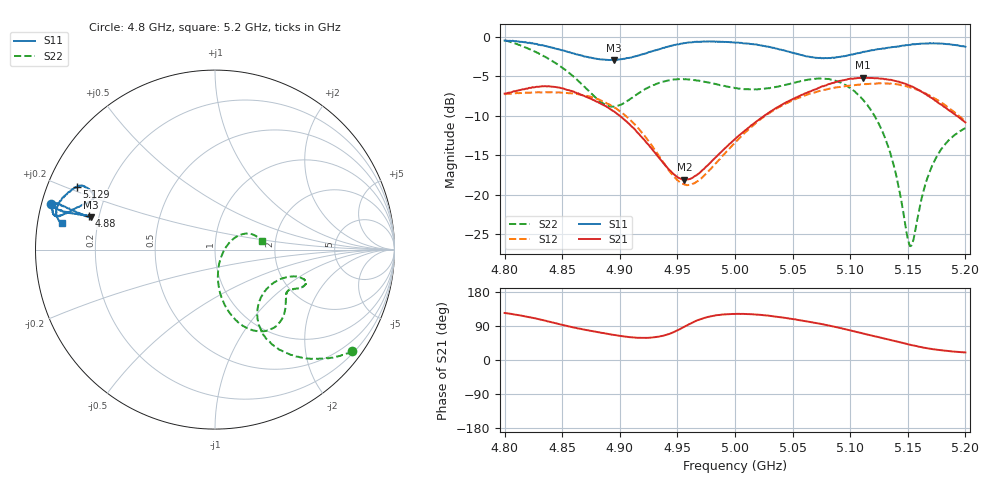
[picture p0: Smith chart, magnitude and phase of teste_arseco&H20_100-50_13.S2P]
! Network Analyzer HP8722D
! Hewlett-Packard
! Data name: Linha & Wilkinson
! Saver's name: Rodrigo Anjos
! Comments: Teste da utilização de aquisição
! continua pelo VNA HP8722D
! Time and date: 6/5/2025 12:40
!  Frequency  S11  S21  S12  S22
# HZ  S  MA R 50
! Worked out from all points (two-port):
!   401 points, 4.8 GHz to 5.2 GHz, reference 50 ohm
!   highest |S21| = -5.17 dB at 5.111 GHz (marker M1); lowest = -18.1 dB at 4.956 GHz (marker M2)
!   |S21| within 3 dB of the highest: start of sweep to 4.88 GHz; 5.046 GHz to 5.175 GHz (129 MHz wide, 2.52 % of centre)
!   lowest |S11| = -2.9 dB at 4.895 GHz (marker M3), VSWR 6.00, Z = 8.47 + j6.26 ohm
!   |S11| at or under -10 dB: nowhere
!   |S22| runs from -26.5 to -0.4 dB; largest |S21 - S12| = 0.71
!   S11 on the Smith chart (normalised r, x): 4.8 GHz: 0.03, +0.14; 4.88 GHz: 0.16, +0.13; 5.129 GHz: 0.09, +0.21; 5.2 GHz: 0.07, +0.09
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4.8e9  0.9499 164.4  0.4376 124.1  0.4332 19.4  0.9511 -36.5
4.834e9  0.8819 165.7  0.4869 104.7  0.4469 8.7  0.7563 -52.1
4.867e9  0.7626 165.4  0.4282 81.4  0.4289 -4.9  0.5034 -60.0
4.88e9  0.7278 165.1  0.3895 74.3  0.4058 -12.2  0.407 -54.4
4.895e9  0.7142 165.3  0.3373 66.2  0.3593 -21.4  0.3611 -37.4
4.934e9  0.8371 164.5  0.1716 61.6  0.176 -32.4  0.5114 -18.2
4.956e9  0.9143 163.6  0.1245 87.8  0.1162 -5.1  0.5394 -21.1
4.97e9  0.9331 164.2  0.139 107.6  0.126 18.7  0.5257 -23.5
5e9  0.9224 167.6  0.2255 121.5  0.214 40.0  0.474 -28.1
5.034e9  0.8537 166.0  0.3478 115.0  0.3452 36.2  0.4798 -34.6
5.067e9  0.7448 158.6  0.4577 99.5  0.4408 22.1  0.5404 -47.4
5.09e9  0.7465 155.6  0.5256 85.5  0.4809 9.4  0.5194 -61.3
5.111e9  0.8045 154.1  0.5511 70.0  0.5012 -3.0  0.4011 -74.1
5.129e9  0.8468 155.6  0.5432 57.1  0.507 -14.4  0.2414 -83.4
5.134e9  0.8557 156.5  0.5353 53.7  0.5052 -17.8  0.1916 -84.4
5.141e9  0.872 158.2  0.5226 48.5  0.5011 -22.6  0.1219 -81.8
5.15e9  0.8883 160.4  0.4971 41.7  0.4835 -28.7  0.05249 -48.2
5.153e9  0.8962 161.0  0.4868 39.4  0.4763 -30.8  0.04743 -18.9
5.164e9  0.908 163.8  0.4399 32.5  0.4438 -37.6  0.108 29.4
5.172e9  0.9131 165.7  0.4044 28.4  0.4133 -41.9  0.1575 30.5
5.184e9  0.9016 167.9  0.3514 23.9  0.3616 -47.2  0.2151 24.1
5.2e9  0.8677 170.2  0.2874 19.9  0.2913 -52.0  0.2641 10.2
